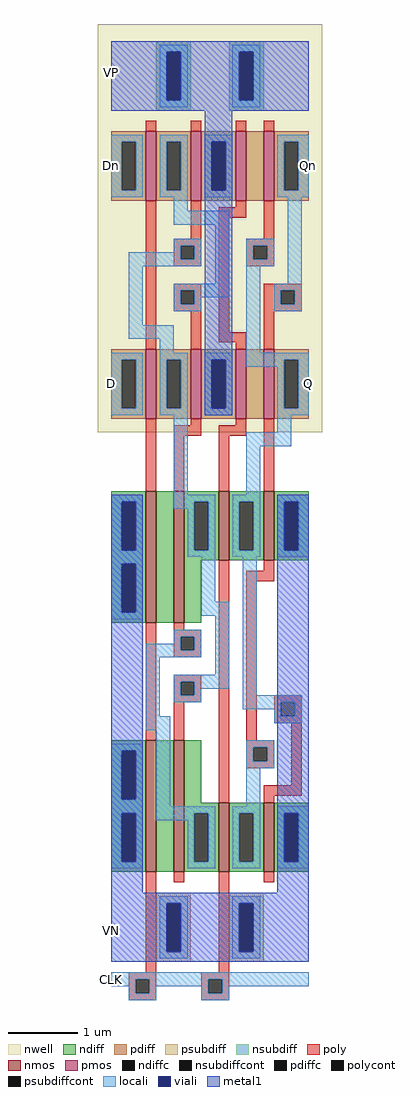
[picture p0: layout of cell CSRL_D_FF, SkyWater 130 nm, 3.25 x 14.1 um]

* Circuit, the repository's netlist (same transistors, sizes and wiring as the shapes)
* SPICE3 file created from CSRL_D_FF.ext - technology: sky130A

X0 a_30_1940# CLK Dn VP sky130_fd_pr__pfet_01v8 ad=2e+08p pd=395000u as=0p ps=0u w=1e+06u l=150000u
X1 Q CLK a_30_1310# VN sky130_fd_pr__nfet_01v8 ad=-2.5e+07p pd=0u as=-4.53743e+16p ps=1.1042e+08u w=1e+06u l=150000u
X2 a_30_0# CLK VN VN sky130_fd_pr__nfet_01v8 ad=0p pd=0u as=3.35544e+15p ps=0u w=1.9e+06u l=150000u
X3 Qn Q a_290_1940# VP sky130_fd_pr__pfet_01v8 ad=1.20189e+14p pd=0u as=0p ps=0u w=1e+06u l=150000u
X4 VP a_30_1310# a_30_1940# VP sky130_fd_pr__pfet_01v8 ad=-2.5e+07p pd=0u as=0p ps=0u w=1e+06u l=150000u
X5 VN Q Qn VN sky130_fd_pr__nfet_01v8 ad=0p pd=0u as=0p ps=0u w=1e+06u l=150000u
X6 a_290_1310# CLK VP VP sky130_fd_pr__pfet_01v8 ad=0p pd=0u as=-0p ps=0u w=1e+06u l=150000u
X7 Qn CLK a_30_1940# VN sky130_fd_pr__nfet_01v8 ad=0p pd=0u as=0p ps=0u w=1e+06u l=150000u
X8 a_30_1310# CLK D VP sky130_fd_pr__pfet_01v8 ad=-0p pd=0u as=0p ps=0u w=1e+06u l=150000u
X9 VN Qn Q VN sky130_fd_pr__nfet_01v8 ad=0p pd=0u as=-0p ps=0u w=1e+06u l=150000u
X10 a_30_1310# a_30_1940# a_30_720# VN sky130_fd_pr__nfet_01v8 ad=-0p pd=0u as=-2.5e+07p ps=1.63445e+08u w=1.9e+06u l=150000u
X11 a_30_1940# a_30_1310# a_30_0# VN sky130_fd_pr__nfet_01v8 ad=0p pd=0u as=0p ps=0u w=1.9e+06u l=150000u
X12 a_290_1940# CLK VP VP sky130_fd_pr__pfet_01v8 ad=0p pd=0u as=-0p ps=0u w=1e+06u l=150000u
X13 Q Qn a_290_1310# VP sky130_fd_pr__pfet_01v8 ad=-0p pd=0u as=0p ps=0u w=1e+06u l=150000u
X14 a_30_720# CLK VN VN sky130_fd_pr__nfet_01v8 ad=-0p pd=0u as=0p ps=0u w=1.9e+06u l=150000u
X15 VP a_30_1940# a_30_1310# VP sky130_fd_pr__pfet_01v8 ad=-0p pd=0u as=-0p ps=0u w=1e+06u l=150000u

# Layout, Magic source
magic
tech sky130A
<< nwell >>
rect -70 635 255 1225
<< nmos >>
rect 0 360 15 550
rect 40 360 55 550
rect 105 450 120 550
rect 170 450 185 550
rect 0 0 15 190
rect 40 0 55 190
rect 105 0 120 100
rect 170 0 185 100
<< pmos >>
rect 0 970 15 1070
rect 65 970 80 1070
rect 130 970 145 1070
rect 170 970 185 1070
rect 0 655 15 755
rect 65 655 80 755
rect 130 655 145 755
rect 170 655 185 755
<< ndiff >>
rect -50 535 0 550
rect -50 465 -35 535
rect -15 465 0 535
rect -50 445 0 465
rect -50 375 -35 445
rect -15 375 0 445
rect -50 360 0 375
rect 15 360 40 550
rect 55 535 105 550
rect 55 465 70 535
rect 90 465 105 535
rect 55 450 105 465
rect 120 535 170 550
rect 120 465 135 535
rect 155 465 170 535
rect 120 450 170 465
rect 185 535 235 550
rect 185 465 200 535
rect 220 465 235 535
rect 185 450 235 465
rect 55 360 80 450
rect -50 175 0 190
rect -50 105 -35 175
rect -15 105 0 175
rect -50 85 0 105
rect -50 15 -35 85
rect -15 15 0 85
rect -50 0 0 15
rect 15 0 40 190
rect 55 100 80 190
rect 55 85 105 100
rect 55 15 70 85
rect 90 15 105 85
rect 55 0 105 15
rect 120 85 170 100
rect 120 15 135 85
rect 155 15 170 85
rect 120 0 170 15
rect 185 85 235 100
rect 185 15 200 85
rect 220 15 235 85
rect 185 0 235 15
<< pdiff >>
rect -50 1055 0 1070
rect -50 985 -35 1055
rect -15 985 0 1055
rect -50 970 0 985
rect 15 1055 65 1070
rect 15 985 30 1055
rect 50 985 65 1055
rect 15 970 65 985
rect 80 1055 130 1070
rect 80 985 95 1055
rect 115 985 130 1055
rect 80 970 130 985
rect 145 970 170 1070
rect 185 1055 235 1070
rect 185 985 200 1055
rect 220 985 235 1055
rect 185 970 235 985
rect -50 740 0 755
rect -50 670 -35 740
rect -15 670 0 740
rect -50 655 0 670
rect 15 740 65 755
rect 15 670 30 740
rect 50 670 65 740
rect 15 655 65 670
rect 80 740 130 755
rect 80 670 95 740
rect 115 670 130 740
rect 80 655 130 670
rect 145 655 170 755
rect 185 740 235 755
rect 185 670 200 740
rect 220 670 235 740
rect 185 655 235 670
<< ndiffc >>
rect -35 465 -15 535
rect -35 375 -15 445
rect 70 465 90 535
rect 135 465 155 535
rect 200 465 220 535
rect -35 105 -15 175
rect -35 15 -15 85
rect 70 15 90 85
rect 135 15 155 85
rect 200 15 220 85
<< pdiffc >>
rect -35 985 -15 1055
rect 30 985 50 1055
rect 95 985 115 1055
rect 200 985 220 1055
rect -35 670 -15 740
rect 30 670 50 740
rect 95 670 115 740
rect 200 670 220 740
<< psubdiff >>
rect 15 -45 65 -30
rect 15 -115 30 -45
rect 50 -115 65 -45
rect 15 -130 65 -115
rect 120 -45 170 -30
rect 120 -115 135 -45
rect 155 -115 170 -45
rect 120 -130 170 -115
<< nsubdiff >>
rect 15 1185 65 1200
rect 15 1115 30 1185
rect 50 1115 65 1185
rect 15 1100 65 1115
rect 120 1185 170 1200
rect 120 1115 135 1185
rect 155 1115 170 1185
rect 120 1100 170 1115
<< psubdiffcont >>
rect 30 -115 50 -45
rect 135 -115 155 -45
<< nsubdiffcont >>
rect 30 1115 50 1185
rect 135 1115 155 1185
<< poly >>
rect 0 1070 15 1085
rect 65 1070 80 1085
rect 130 1070 145 1085
rect 170 1070 185 1085
rect 0 755 15 970
rect 65 915 80 970
rect 130 960 145 970
rect 40 905 80 915
rect 40 885 50 905
rect 70 885 80 905
rect 40 875 80 885
rect 105 945 145 960
rect 40 840 80 850
rect 40 820 50 840
rect 70 820 80 840
rect 40 810 80 820
rect 65 755 80 810
rect 105 780 120 945
rect 170 915 185 970
rect 145 905 185 915
rect 145 885 155 905
rect 175 885 185 905
rect 145 875 185 885
rect 170 840 225 850
rect 170 820 195 840
rect 215 820 225 840
rect 170 810 225 820
rect 105 765 145 780
rect 130 755 145 765
rect 170 755 185 810
rect 0 550 15 655
rect 65 645 80 655
rect 130 645 145 655
rect 40 630 80 645
rect 105 630 145 645
rect 40 550 55 630
rect 105 550 120 630
rect 170 550 185 655
rect 0 190 15 360
rect 40 350 55 360
rect 40 340 80 350
rect 40 320 50 340
rect 70 320 80 340
rect 40 310 80 320
rect 40 275 80 285
rect 40 255 50 275
rect 70 255 80 275
rect 40 245 80 255
rect 40 190 55 245
rect 105 100 120 450
rect 170 435 185 450
rect 145 420 185 435
rect 145 190 160 420
rect 185 245 225 255
rect 185 225 195 245
rect 215 225 225 245
rect 185 215 225 225
rect 145 180 185 190
rect 145 160 155 180
rect 175 160 185 180
rect 145 150 185 160
rect 210 125 225 215
rect 170 110 225 125
rect 170 100 185 110
rect 0 -145 15 0
rect 40 -15 55 0
rect 105 -145 120 0
rect 170 -15 185 0
rect -25 -155 15 -145
rect -25 -175 -15 -155
rect 5 -175 15 -155
rect -25 -185 15 -175
rect 80 -155 120 -145
rect 80 -175 90 -155
rect 110 -175 120 -155
rect 80 -185 120 -175
<< polycont >>
rect 50 885 70 905
rect 50 820 70 840
rect 155 885 175 905
rect 195 820 215 840
rect 50 320 70 340
rect 50 255 70 275
rect 195 225 215 245
rect 155 160 175 180
rect -15 -175 5 -155
rect 90 -175 110 -155
<< locali >>
rect 20 1185 60 1195
rect 20 1115 30 1185
rect 50 1115 60 1185
rect 20 1105 60 1115
rect 125 1185 165 1195
rect 125 1115 135 1185
rect 155 1115 165 1185
rect 125 1105 165 1115
rect -50 1055 -5 1065
rect -50 985 -35 1055
rect -15 985 -5 1055
rect -50 975 -5 985
rect 20 1055 60 1065
rect 20 985 30 1055
rect 50 985 60 1055
rect 20 975 60 985
rect 85 1055 125 1065
rect 85 985 95 1055
rect 115 985 125 1055
rect 85 975 125 985
rect 190 1055 235 1065
rect 190 985 200 1055
rect 220 985 235 1055
rect 190 975 235 985
rect 40 955 60 975
rect 40 935 120 955
rect 40 905 80 915
rect 40 895 50 905
rect -25 885 50 895
rect 70 885 80 905
rect -25 875 80 885
rect -25 790 -5 875
rect 100 850 120 935
rect 40 840 120 850
rect 40 820 50 840
rect 70 830 120 840
rect 145 905 185 915
rect 145 885 155 905
rect 175 885 185 905
rect 145 875 185 885
rect 70 820 80 830
rect 40 810 80 820
rect -25 770 40 790
rect 20 750 40 770
rect 145 750 165 875
rect 205 850 225 975
rect 185 840 225 850
rect 185 820 195 840
rect 215 820 225 840
rect 185 810 225 820
rect -50 740 -5 750
rect -50 670 -35 740
rect -15 670 -5 740
rect -50 660 -5 670
rect 20 740 60 750
rect 20 670 30 740
rect 50 670 60 740
rect 20 660 60 670
rect 85 740 125 750
rect 85 670 95 740
rect 115 670 125 740
rect 145 740 235 750
rect 145 730 200 740
rect 85 660 125 670
rect 190 670 200 730
rect 220 670 235 740
rect 190 660 235 670
rect 40 545 60 660
rect 190 635 210 660
rect 145 615 210 635
rect 145 545 165 615
rect -50 535 -5 545
rect -50 465 -35 535
rect -15 465 -5 535
rect 40 535 100 545
rect 40 525 70 535
rect -50 445 -5 465
rect 60 465 70 525
rect 90 465 100 535
rect 60 455 100 465
rect 125 535 165 545
rect 125 465 135 535
rect 155 465 165 535
rect 125 455 165 465
rect 190 535 235 545
rect 190 465 200 535
rect 220 465 235 535
rect 190 455 235 465
rect -50 375 -35 445
rect -15 375 -5 445
rect -50 365 -5 375
rect 80 390 100 455
rect 80 370 120 390
rect 40 340 80 350
rect 40 330 50 340
rect 0 320 50 330
rect 70 320 80 340
rect 0 310 80 320
rect 0 225 20 310
rect 100 285 120 370
rect 40 275 120 285
rect 40 255 50 275
rect 70 265 120 275
rect 70 255 80 265
rect 40 245 80 255
rect 140 255 160 455
rect 140 245 225 255
rect 140 235 195 245
rect 185 225 195 235
rect 215 225 225 245
rect 0 205 35 225
rect 185 215 225 225
rect -50 175 -5 185
rect -50 105 -35 175
rect -15 105 -5 175
rect -50 85 -5 105
rect -50 15 -35 85
rect -15 15 -5 85
rect 15 95 35 205
rect 145 180 185 190
rect 145 160 155 180
rect 175 160 185 180
rect 145 150 185 160
rect 145 95 165 150
rect 15 85 100 95
rect 15 75 70 85
rect -50 5 -5 15
rect 60 15 70 75
rect 90 15 100 85
rect 60 5 100 15
rect 125 85 165 95
rect 125 15 135 85
rect 155 15 165 85
rect 125 5 165 15
rect 190 85 235 95
rect 190 15 200 85
rect 220 15 235 85
rect 190 5 235 15
rect 20 -45 60 -35
rect 20 -115 30 -45
rect 50 -115 60 -45
rect 20 -125 60 -115
rect 125 -45 165 -35
rect 125 -115 135 -45
rect 155 -115 165 -45
rect 125 -125 165 -115
rect -50 -155 235 -145
rect -50 -165 -15 -155
rect -25 -175 -15 -165
rect 5 -165 90 -155
rect 5 -175 15 -165
rect -25 -185 15 -175
rect 80 -175 90 -165
rect 110 -165 235 -155
rect 110 -175 120 -165
rect 80 -185 120 -175
<< viali >>
rect 30 1115 50 1185
rect 135 1115 155 1185
rect 95 985 115 1055
rect 95 670 115 740
rect -35 465 -15 535
rect 200 465 220 535
rect -35 375 -15 445
rect -35 105 -15 175
rect -35 15 -15 85
rect 200 15 220 85
rect 30 -115 50 -45
rect 135 -115 155 -45
<< metal1 >>
rect -50 1185 235 1200
rect -50 1115 30 1185
rect 50 1115 135 1185
rect 155 1115 235 1185
rect -50 1100 235 1115
rect 85 1055 125 1100
rect 85 985 95 1055
rect 115 985 125 1055
rect 85 740 125 985
rect 85 670 95 740
rect 115 670 125 740
rect 85 660 125 670
rect -50 535 -5 545
rect -50 465 -35 535
rect -15 465 -5 535
rect -50 445 -5 465
rect -50 375 -35 445
rect -15 375 -5 445
rect -50 175 -5 375
rect -50 105 -35 175
rect -15 105 -5 175
rect -50 85 -5 105
rect -50 15 -35 85
rect -15 15 -5 85
rect -50 -30 -5 15
rect 190 535 235 545
rect 190 465 200 535
rect 220 465 235 535
rect 190 85 235 465
rect 190 15 200 85
rect 220 15 235 85
rect 190 -30 235 15
rect -50 -45 235 -30
rect -50 -115 30 -45
rect 50 -115 135 -45
rect 155 -115 235 -45
rect -50 -130 235 -115
<< labels >>
rlabel metal1 -50 -85 -50 -85 7 VN
rlabel locali -50 -155 -50 -155 7 CLK
rlabel metal1 -50 1155 -50 1155 7 VP
rlabel locali -50 1020 -50 1020 7 Dn
rlabel locali -50 705 -50 705 7 D
rlabel locali 235 705 235 705 3 Q
rlabel locali 235 1020 235 1020 3 Qn
<< end >>
